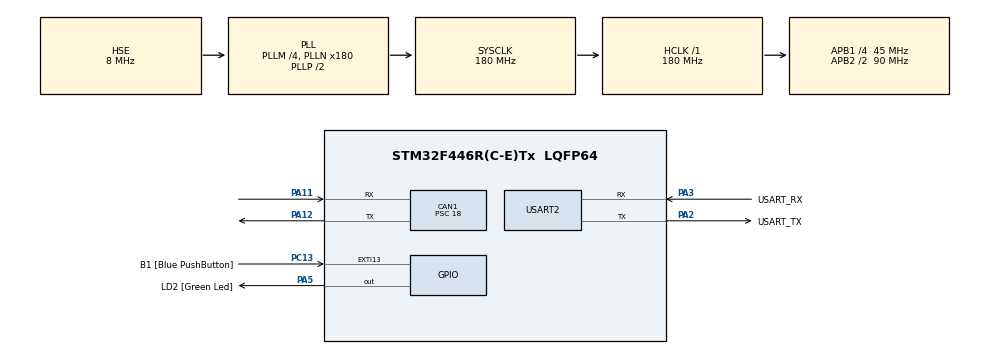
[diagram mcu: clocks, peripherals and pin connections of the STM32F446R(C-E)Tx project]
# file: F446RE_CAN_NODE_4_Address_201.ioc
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CAN1.BS1=CAN_BS1_2TQ
CAN1.BS2=CAN_BS2_2TQ
CAN1.CalculateBaudRate=500000
CAN1.CalculateTimeBit=2000
CAN1.CalculateTimeQuantum=400.0
CAN1.Prescaler=18
Mcu.Family=STM32F4
Mcu.Name=STM32F446R(C-E)Tx
Mcu.Package=LQFP64
NVIC.CAN1_RX1_IRQn=true\:0\:0\:false\:false\:true\:true\:true\:true
NVIC.EXTI15_10_IRQn=true\:0\:0\:false\:false\:true\:true\:true\:true
NVIC.PriorityGroup=NVIC_PRIORITYGROUP_0
PA11.Mode=CAN_Activate
PA11.Signal=CAN1_RX
PA12.Mode=CAN_Activate
PA12.Signal=CAN1_TX
PA13.GPIO_Label=TMS
PA13.Mode=Serial_Wire
PA13.Signal=SYS_JTMS-SWDIO
PA14.GPIO_Label=TCK
PA14.Mode=Serial_Wire
PA14.Signal=SYS_JTCK-SWCLK
PA2.GPIO_Label=USART_TX
PA2.Mode=Asynchronous
PA2.Signal=USART2_TX
PA3.GPIO_Label=USART_RX
PA3.Mode=Asynchronous
PA3.Signal=USART2_RX
PA5.GPIO_Label=LD2 [Green Led]
PA5.Signal=GPIO_Output
PB3.GPIO_Label=SWO
PB3.Signal=SYS_JTDO-SWO
PC13.GPIO_Label=B1 [Blue PushButton]
PC13.GPIO_ModeDefaultEXTI=GPIO_MODE_IT_FALLING
PC13.Signal=GPXTI13
PC14-OSC32_IN.Mode=LSE-External-Oscillator
PC14-OSC32_IN.Signal=RCC_OSC32_IN
PC15-OSC32_OUT.Mode=LSE-External-Oscillator
PC15-OSC32_OUT.Signal=RCC_OSC32_OUT
PH0-OSC_IN.Mode=HSE-External-Oscillator
PH0-OSC_IN.Signal=RCC_OSC_IN
PH1-OSC_OUT.Mode=HSE-External-Oscillator
PH1-OSC_OUT.Signal=RCC_OSC_OUT
ProjectManager.HeapSize=0x200
ProjectManager.StackSize=0x400
ProjectManager.TargetToolchain=STM32CubeIDE
RCC.48MHZClocksFreq_Value=84000000
RCC.AHBFreq_Value=180000000
RCC.APB1CLKDivider=RCC_HCLK_DIV4
RCC.APB1Freq_Value=45000000
RCC.APB1TimFreq_Value=90000000
RCC.APB2CLKDivider=RCC_HCLK_DIV2
RCC.APB2Freq_Value=90000000
RCC.APB2TimFreq_Value=180000000
RCC.CortexFreq_Value=180000000
RCC.FLatency-AdvancedSettings=FLASH_LATENCY_5
RCC.HCLKFreq_Value=180000000
RCC.HSE_VALUE=8000000
RCC.HSI_VALUE=16000000
RCC.PLLM=4
RCC.PLLN=180
RCC.PLLSourceVirtual=RCC_PLLSOURCE_HSE
RCC.SYSCLKFreq_VALUE=180000000
RCC.SYSCLKSource=RCC_SYSCLKSOURCE_PLLCLK
RCC.USBFreq_Value=180000000
RCC.VCOOutputFreq_Value=360000000
USART2.VirtualMode=VM_ASYNC
board=NUCLEO-F446RE

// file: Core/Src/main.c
/* USER CODE BEGIN Header */
/**
  ******************************************************************************
  * @file           : main.c
  * @brief          : Main program body
  ******************************************************************************
  * @attention
  *
  * Copyright (c) 2024 STMicroelectronics.
  * All rights reserved.
  *
  * This software is licensed under terms that can be found in the LICENSE file
  * in the root directory of this software component.
  * If no LICENSE file comes with this software, it is provided AS-IS.
  *
  ******************************************************************************
  */
/* USER CODE END Header */
#include "main.h"

/* USER CODE BEGIN Includes */
#include <stdio.h>
#include <string.h>
/* USER CODE END Includes */

CAN_HandleTypeDef hcan1;

UART_HandleTypeDef huart2;

/* USER CODE BEGIN PV */

CAN_TxHeaderTypeDef TxHeader;
CAN_RxHeaderTypeDef RxHeader;

uint8_t TxData[8];
uint8_t RxData[8];

uint32_t TxMailbox;

uint8_t counter = 0;
uint8_t datareceiveCheck = 0;

/* USER CODE END PV */

void SystemClock_Config(void);
static void MX_GPIO_Init(void);
static void MX_USART2_UART_Init(void);
static void MX_CAN1_Init(void);

/* USER CODE BEGIN 0 */

//void HAL_GPIO_EXTI_Callback(uint16_t GPIO_Pin)
//{
//	if(GPIO_Pin == GPIO_PIN_13)
//	{
////		counter += 5;
////		TxData[0] = 5 + counter; // for loop
////		TxData[1] = 25 + counter; // for delay
//
//		strcpy(TxData,"Hello 01");
//		HAL_CAN_AddTxMessage(&hcan1, &TxHeader, TxData, &TxMailbox);
//	}
//}
void HAL_CAN_RxFifo1MsgPendingCallback(CAN_HandleTypeDef *hcan)
{
	HAL_CAN_GetRxMessage(hcan, CAN_RX_FIFO1, &RxHeader, RxData);

	if(RxHeader.DLC == 8)
	{
		datareceiveCheck = 1;
	}
}
/* USER CODE END 0 */

int main(void)
{

  /* MCU Configuration--------------------------------------------------------*/

  /* Reset of all peripherals, Initializes the Flash interface and the Systick. */
  HAL_Init();

  /* Configure the system clock */
  SystemClock_Config();

  /* Initialize all configured peripherals */
  MX_GPIO_Init();
  MX_USART2_UART_Init();
  MX_CAN1_Init();
  /* USER CODE BEGIN 2 */
  HAL_CAN_Start(&hcan1);

  HAL_CAN_ActivateNotification(&hcan1, CAN_IT_RX_FIFO1_MSG_PENDING);

//  TxHeader.DLC = 8;
//  TxHeader.StdId = 0x201;
//  TxHeader.IDE = CAN_ID_STD;
//  TxHeader.RTR = CAN_RTR_DATA;

  /* USER CODE END 2 */

  /* Infinite loop */
  /* USER CODE BEGIN WHILE */
  while (1)
  {
	  if(datareceiveCheck)
	  {

//		  for(uint8_t i=0;i<RxData[0];i++)
//		  {
//			  HAL_GPIO_TogglePin(LD2_GPIO_Port, LD2_Pin);
//			  HAL_Delay(RxData[1]);
//		  }

		  HAL_UART_Transmit(&huart2, RxData, 8, HAL_MAX_DELAY);
		  datareceiveCheck = 0;

	  }
    /* USER CODE END WHILE */

  }
}

void SystemClock_Config(void)
{
  RCC_OscInitTypeDef RCC_OscInitStruct = {0};
  RCC_ClkInitTypeDef RCC_ClkInitStruct = {0};

  /** Configure the main internal regulator output voltage
  */
  __HAL_RCC_PWR_CLK_ENABLE();
  __HAL_PWR_VOLTAGESCALING_CONFIG(PWR_REGULATOR_VOLTAGE_SCALE1);

  /** Initializes the RCC Oscillators according to the specified parameters
  * in the RCC_OscInitTypeDef structure.
  */
  RCC_OscInitStruct.OscillatorType = RCC_OSCILLATORTYPE_HSE;
  RCC_OscInitStruct.HSEState = RCC_HSE_ON;
  RCC_OscInitStruct.PLL.PLLState = RCC_PLL_ON;
  RCC_OscInitStruct.PLL.PLLSource = RCC_PLLSOURCE_HSE;
  RCC_OscInitStruct.PLL.PLLM = 4;
  RCC_OscInitStruct.PLL.PLLN = 180;
  RCC_OscInitStruct.PLL.PLLP = RCC_PLLP_DIV2;
  RCC_OscInitStruct.PLL.PLLQ = 2;
  RCC_OscInitStruct.PLL.PLLR = 2;
  if (HAL_RCC_OscConfig(&RCC_OscInitStruct) != HAL_OK)
  {
    Error_Handler();
  }

  /** Activate the Over-Drive mode
  */
  if (HAL_PWREx_EnableOverDrive() != HAL_OK)
  {
    Error_Handler();
  }

  /** Initializes the CPU, AHB and APB buses clocks
  */
  RCC_ClkInitStruct.ClockType = RCC_CLOCKTYPE_HCLK|RCC_CLOCKTYPE_SYSCLK
                              |RCC_CLOCKTYPE_PCLK1|RCC_CLOCKTYPE_PCLK2;
  RCC_ClkInitStruct.SYSCLKSource = RCC_SYSCLKSOURCE_PLLCLK;
  RCC_ClkInitStruct.AHBCLKDivider = RCC_SYSCLK_DIV1;
  RCC_ClkInitStruct.APB1CLKDivider = RCC_HCLK_DIV4;
  RCC_ClkInitStruct.APB2CLKDivider = RCC_HCLK_DIV2;

  if (HAL_RCC_ClockConfig(&RCC_ClkInitStruct, FLASH_LATENCY_5) != HAL_OK)
  {
    Error_Handler();
  }
}

static void MX_CAN1_Init(void)
{

  hcan1.Instance = CAN1;
  hcan1.Init.Prescaler = 18;
  hcan1.Init.Mode = CAN_MODE_NORMAL;
  hcan1.Init.SyncJumpWidth = CAN_SJW_1TQ;
  hcan1.Init.TimeSeg1 = CAN_BS1_2TQ;
  hcan1.Init.TimeSeg2 = CAN_BS2_2TQ;
  hcan1.Init.TimeTriggeredMode = DISABLE;
  hcan1.Init.AutoBusOff = DISABLE;
  hcan1.Init.AutoWakeUp = DISABLE;
  hcan1.Init.AutoRetransmission = DISABLE;
  hcan1.Init.ReceiveFifoLocked = DISABLE;
  hcan1.Init.TransmitFifoPriority = DISABLE;
  if (HAL_CAN_Init(&hcan1) != HAL_OK)
  {
    Error_Handler();
  }
  /* USER CODE BEGIN CAN1_Init 2 */
  CAN_FilterTypeDef sfilterConfig = {0};

  sfilterConfig.FilterActivation = CAN_FILTER_ENABLE;
  sfilterConfig.FilterBank = 10;
  sfilterConfig.FilterFIFOAssignment = CAN_RX_FIFO1;
  sfilterConfig.FilterIdHigh = 0x200 << 5;
  sfilterConfig.FilterIdLow = 0x000;
  sfilterConfig.FilterMaskIdHigh = 0x200 << 5;
  sfilterConfig.FilterMaskIdLow = 0x000;
  sfilterConfig.FilterMode = CAN_FILTERMODE_IDMASK;
  sfilterConfig.FilterScale = CAN_FILTERSCALE_32BIT;
  sfilterConfig.SlaveStartFilterBank = 0;

  if(HAL_CAN_ConfigFilter(&hcan1, &sfilterConfig) != HAL_OK)
  {
	  Error_Handler();
  }
  /* USER CODE END CAN1_Init 2 */

}

static void MX_USART2_UART_Init(void)
{

  huart2.Instance = USART2;
  huart2.Init.BaudRate = 115200;
  huart2.Init.WordLength = UART_WORDLENGTH_8B;
  huart2.Init.StopBits = UART_STOPBITS_1;
  huart2.Init.Parity = UART_PARITY_NONE;
  huart2.Init.Mode = UART_MODE_TX_RX;
  huart2.Init.HwFlowCtl = UART_HWCONTROL_NONE;
  huart2.Init.OverSampling = UART_OVERSAMPLING_16;
  if (HAL_UART_Init(&huart2) != HAL_OK)
  {
    Error_Handler();
  }

}

static void MX_GPIO_Init(void)
{
  GPIO_InitTypeDef GPIO_InitStruct = {0};

  /* GPIO Ports Clock Enable */
  __HAL_RCC_GPIOC_CLK_ENABLE();
  __HAL_RCC_GPIOH_CLK_ENABLE();
  __HAL_RCC_GPIOA_CLK_ENABLE();
  __HAL_RCC_GPIOB_CLK_ENABLE();

  /*Configure GPIO pin Output Level */
  HAL_GPIO_WritePin(LD2_GPIO_Port, LD2_Pin, GPIO_PIN_RESET);

  /*Configure GPIO pin : B1_Pin */
  GPIO_InitStruct.Pin = B1_Pin;
  GPIO_InitStruct.Mode = GPIO_MODE_IT_FALLING;
  GPIO_InitStruct.Pull = GPIO_NOPULL;
  HAL_GPIO_Init(B1_GPIO_Port, &GPIO_InitStruct);

  /*Configure GPIO pin : LD2_Pin */
  GPIO_InitStruct.Pin = LD2_Pin;
  GPIO_InitStruct.Mode = GPIO_MODE_OUTPUT_PP;
  GPIO_InitStruct.Pull = GPIO_NOPULL;
  GPIO_InitStruct.Speed = GPIO_SPEED_FREQ_LOW;
  HAL_GPIO_Init(LD2_GPIO_Port, &GPIO_InitStruct);

  /* EXTI interrupt init*/
  HAL_NVIC_SetPriority(EXTI15_10_IRQn, 0, 0);
  HAL_NVIC_EnableIRQ(EXTI15_10_IRQn);

}

void Error_Handler(void)
{
  __disable_irq();
  while (1)
  {
  }
}
